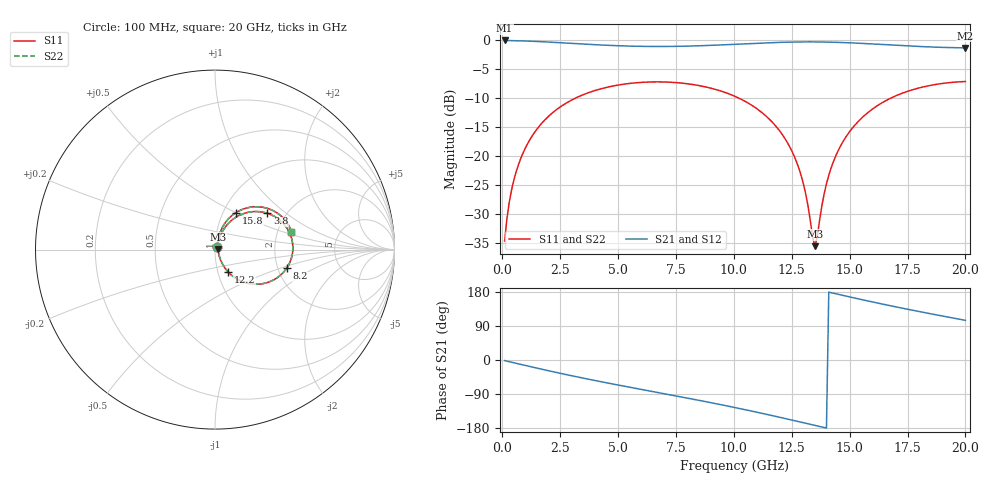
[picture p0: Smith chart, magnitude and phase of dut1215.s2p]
! Touchstone file exported from HFSS 2026.1.0
!  File:  C:/ffzhzh/LocalFiles/Ansys_Project_Files/temp_train_TSV_RDL_1215_1783320316_39728.aedt
!  Generated:  02:53:46 PM Jul  6, 2026
!  Design:  TSV_RDL
!  Project:  temp_train_TSV_RDL_1215_1783320316_39728
! Variables:
!  h_bsmrdl = 4.09um
!  h_ox = 20um
!  h_rdl = 5um
!  h_sub = 80.65um
!  h_tmrdl = 5.43um
!  h_tsv = 80.65um
!  h_via = 3um
!  l_bsmrdl = 221.83um
!  l_sub = 4176.07um
!  l_tmrdl = 748.32um
!  m_sub = 200um
!  pitch = 49.42um
!  r_tsv = 14.71um
!  s_tmrdl = 10um
!  w_bsmrdl = 15.39um
!  w_sub = 500um
!  w_tmrdl = 23.71um
!  x_tsv_center1 = 760.175um
!  x_tsv_center2 = 997.395um
!  x_tsv_center3 = 1769.425um
!  x_tsv_center4 = 2006.645um
!  x_tsv_center5 = 2778.675um
!  x_tsv_center6 = 3015.895um
# GHz S MA R 50.000000
! Terminal data exported
! Port[1] = TM_RDL1_1_T1
! Port[2] = TM_RDL5_1_T1
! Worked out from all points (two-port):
!   200 points, 100 MHz to 20 GHz, reference 50 ohm
!   highest |S21| = -0.12 dB at 100 MHz (marker M1); lowest = -1.4 dB at 20 GHz (marker M2)
!   |S21| within 3 dB of the highest: start of sweep to end of sweep
!   lowest |S11| = -35.5 dB at 13.5 GHz (marker M3), VSWR 1.03, Z = 51.7 + j0.148 ohm
!   |S11| at or under -10 dB: start of sweep to 3.186 GHz; 10.19 GHz to 16.8 GHz (6.613 GHz wide, 49 % of centre)
!   |S22| runs from -35.2 to -7.2 dB; largest |S21 - S12| = 1.7e-14
!   S11 on the Smith chart (normalised r, x): 100 MHz: 1.03, +0.03; 3.8 GHz: 1.61, +0.74; 8.2 GHz: 2.23, -0.56; 12.2 GHz: 1.12, -0.28; 15.8 GHz: 1.15, +0.50; 20 GHz: 2.38, +0.59
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0.1  0.01846 42.8  0.9867 -1.5  0.9867 -1.5  0.01846 42.8
! Gamma 0 0 0 0
! Port Impedance 50 0 50 0
0.3  0.03982 63.8  0.9846 -4.5  0.9846 -4.5  0.03982 63.8
0.5  0.062 68.0  0.9825 -7.3  0.9825 -7.3  0.062 68.0
1.1  0.1282 66.4  0.9746 -15.9  0.9746 -15.9  0.1282 66.4
2.1  0.2288 55.3  0.9537 -29.7  0.9537 -29.7  0.2288 55.3
3.5  0.3369 38.3  0.9186 -47.9  0.9186 -47.9  0.3369 38.3
3.8  0.3547 34.8  0.9115 -51.7  0.9115 -51.7  0.3547 34.8
6.8  0.434 1.0  0.8752 -86.8  0.8752 -86.8  0.434 1.0
8.2  0.4126 -14.5  0.8839 -103.0  0.8839 -103.0  0.4126 -14.5
10.1  0.3224 -36.3  0.9159 -126.1  0.9159 -126.1  0.3224 -36.3
11.3  0.2284 -50.4  0.9393 -141.9  0.9393 -141.9  0.2284 -50.3
12.2  0.1418 -59.9  0.9526 -154.2  0.9526 -154.2  0.1418 -59.7
12.9  0.06842 -62.1  0.958 -164.0  0.958 -164.0  0.06853 -61.6
13.2  0.03733 -53.8  0.9587 -168.3  0.9587 -168.3  0.03757 -53.0
13.4  0.02014 -27.1  0.9586 -171.1  0.9586 -171.1  0.0206 -26.1
13.5  0.0167 4.9  0.9584 -172.5  0.9584 -172.5  0.01728 5.1
13.9  0.04714 69.2  0.9563 -178.2  0.9563 -178.2  0.04739 68.6
14.3  0.08929 73.7  0.9523 176.2  0.9523 176.2  0.08944 73.3
14.9  0.1516 70.0  0.9435 167.9  0.9435 167.9  0.1517 69.8
15.8  0.2371 60.4  0.9252 155.6  0.9252 155.6  0.2372 60.3
16.7  0.3089 50.0  0.9041 143.9  0.9041 143.9  0.309 49.9
20  0.4371 13.1  0.8524 104.7  0.8524 104.7  0.4372 13.1
